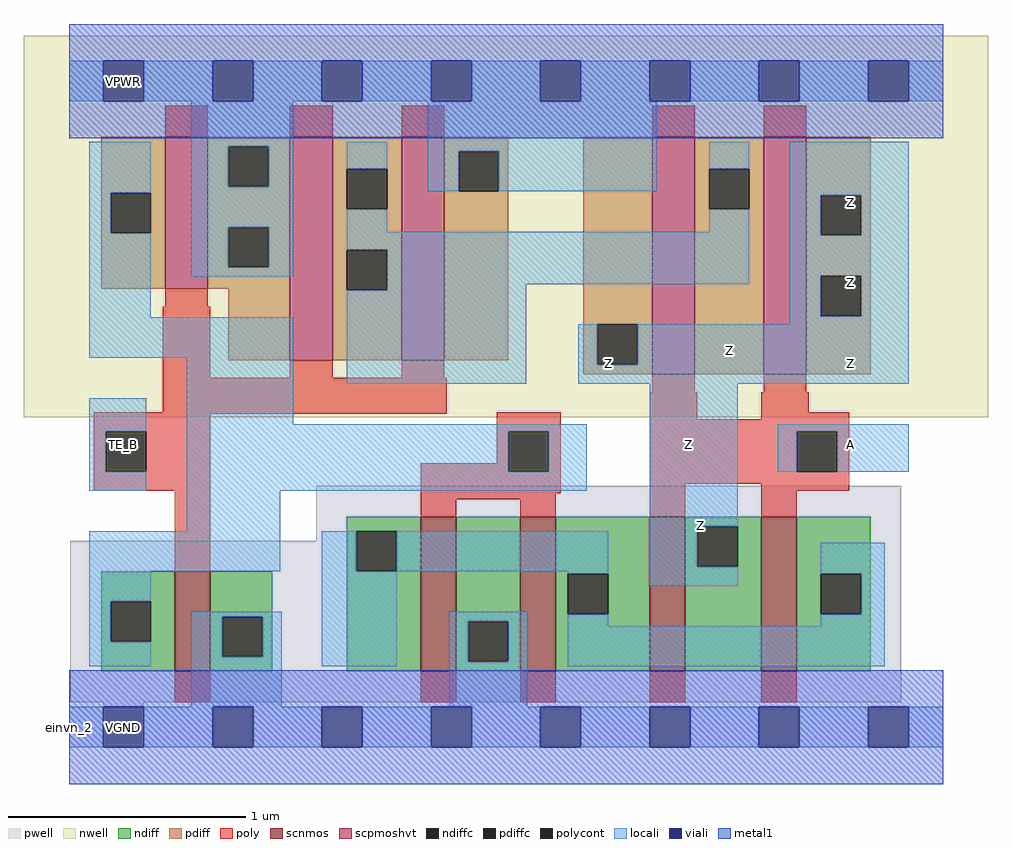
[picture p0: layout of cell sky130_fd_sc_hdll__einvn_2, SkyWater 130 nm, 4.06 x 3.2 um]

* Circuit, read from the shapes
.subckt sky130_fd_sc_hdll__einvn_2 A TE_B VGND VNB VPB VPWR Z
XM1 VGND TE_B n1 VNB sky130_fd_pr__nfet_01v8 w=0.42 l=0.15
XM2 VGND n1 n2 VNB sky130_fd_pr__nfet_01v8 w=0.65 l=0.15 m=2
XM3 Z A n2 VNB sky130_fd_pr__nfet_01v8 w=0.65 l=0.15 m=2
XM4 VPWR TE_B n1 VPB sky130_fd_pr__pfet_01v8_hvt w=0.64 l=0.18
XM5 n3 TE_B VPWR VPB sky130_fd_pr__pfet_01v8_hvt w=0.94 l=0.18 m=2
XM6 n3 A Z VPB sky130_fd_pr__pfet_01v8_hvt w=1 l=0.18 m=2
.ends

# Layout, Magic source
magic
tech sky130A
magscale 1 2
<< nwell >>
rect -38 261 774 582
<< pwell >>
rect 208 157 701 203
rect 1 21 701 157
rect 29 -17 63 21
<< scnmos >>
rect 89 47 119 131
rect 296 47 326 177
rect 380 47 410 177
rect 489 47 519 177
rect 583 47 613 177
<< scpmoshvt >>
rect 81 369 117 497
rect 186 309 222 497
rect 280 309 316 497
rect 491 297 527 497
rect 585 297 621 497
<< ndiff >>
rect 234 165 296 177
rect 234 131 242 165
rect 276 131 296 165
rect 27 106 89 131
rect 27 72 35 106
rect 69 72 89 106
rect 27 47 89 72
rect 119 93 171 131
rect 119 59 129 93
rect 163 59 171 93
rect 119 47 171 59
rect 234 47 296 131
rect 326 89 380 177
rect 326 55 336 89
rect 370 55 380 89
rect 326 47 380 55
rect 410 129 489 177
rect 410 95 420 129
rect 454 95 489 129
rect 410 47 489 95
rect 519 169 583 177
rect 519 135 529 169
rect 563 135 583 169
rect 519 47 583 135
rect 613 129 675 177
rect 613 95 633 129
rect 667 95 675 129
rect 613 47 675 95
<< pdiff >>
rect 27 450 81 497
rect 27 416 35 450
rect 69 416 81 450
rect 27 369 81 416
rect 117 489 186 497
rect 117 455 134 489
rect 168 455 186 489
rect 117 421 186 455
rect 117 387 134 421
rect 168 387 186 421
rect 117 369 186 387
rect 134 309 186 369
rect 222 470 280 497
rect 222 436 234 470
rect 268 436 280 470
rect 222 402 280 436
rect 222 368 234 402
rect 268 368 280 402
rect 222 309 280 368
rect 316 485 370 497
rect 316 451 328 485
rect 362 451 370 485
rect 316 309 370 451
rect 433 339 491 497
rect 433 305 445 339
rect 479 305 491 339
rect 433 297 491 305
rect 527 470 585 497
rect 527 436 539 470
rect 573 436 585 470
rect 527 297 585 436
rect 621 448 675 497
rect 621 414 633 448
rect 667 414 675 448
rect 621 380 675 414
rect 621 346 633 380
rect 667 346 675 380
rect 621 297 675 346
<< ndiffc >>
rect 242 131 276 165
rect 35 72 69 106
rect 129 59 163 93
rect 336 55 370 89
rect 420 95 454 129
rect 529 135 563 169
rect 633 95 667 129
<< pdiffc >>
rect 35 416 69 450
rect 134 455 168 489
rect 134 387 168 421
rect 234 436 268 470
rect 234 368 268 402
rect 328 451 362 485
rect 445 305 479 339
rect 539 436 573 470
rect 633 414 667 448
rect 633 346 667 380
<< poly >>
rect 81 497 117 523
rect 186 497 222 523
rect 280 497 316 523
rect 491 497 527 523
rect 585 497 621 523
rect 81 354 117 369
rect 79 294 119 354
rect 186 294 222 309
rect 280 294 316 309
rect 79 265 318 294
rect 491 282 527 297
rect 585 282 621 297
rect 21 264 318 265
rect 21 249 119 264
rect 21 215 31 249
rect 65 215 119 249
rect 360 249 414 265
rect 360 222 370 249
rect 21 199 119 215
rect 89 131 119 199
rect 296 215 370 222
rect 404 215 414 249
rect 296 197 414 215
rect 489 259 529 282
rect 583 265 623 282
rect 583 259 657 265
rect 489 249 657 259
rect 489 215 613 249
rect 647 215 657 249
rect 489 205 657 215
rect 296 192 410 197
rect 296 177 326 192
rect 380 177 410 192
rect 489 177 519 205
rect 583 199 657 205
rect 583 177 613 199
rect 89 21 119 47
rect 296 21 326 47
rect 380 21 410 47
rect 489 21 519 47
rect 583 21 613 47
<< polycont >>
rect 31 215 65 249
rect 370 215 404 249
rect 613 215 647 249
<< locali >>
rect 0 527 29 561
rect 63 527 121 561
rect 155 527 213 561
rect 247 527 305 561
rect 339 527 397 561
rect 431 527 489 561
rect 523 527 581 561
rect 615 527 673 561
rect 707 527 736 561
rect 17 450 69 493
rect 17 416 35 450
rect 17 345 69 416
rect 103 489 189 527
rect 103 455 134 489
rect 168 455 189 489
rect 103 421 189 455
rect 103 387 134 421
rect 168 387 189 421
rect 103 379 189 387
rect 234 470 268 493
rect 302 485 495 527
rect 302 451 328 485
rect 362 451 495 485
rect 539 470 573 493
rect 234 417 268 436
rect 539 417 573 436
rect 234 402 573 417
rect 268 373 573 402
rect 607 448 707 493
rect 607 414 633 448
rect 667 414 707 448
rect 607 380 707 414
rect 268 368 385 373
rect 17 311 189 345
rect 17 249 65 277
rect 17 215 31 249
rect 17 199 65 215
rect 99 255 189 311
rect 234 289 385 368
rect 607 346 633 380
rect 667 346 707 380
rect 607 339 707 346
rect 429 305 445 339
rect 479 305 707 339
rect 429 289 707 305
rect 99 249 436 255
rect 99 215 370 249
rect 404 215 436 249
rect 99 199 436 215
rect 99 165 178 199
rect 489 169 563 289
rect 597 249 707 255
rect 597 215 613 249
rect 647 215 707 249
rect 17 131 178 165
rect 213 131 242 165
rect 276 131 454 165
rect 17 106 69 131
rect 17 72 35 106
rect 17 51 69 72
rect 103 93 179 97
rect 103 59 129 93
rect 163 59 179 93
rect 103 17 179 59
rect 213 51 276 131
rect 420 129 454 131
rect 320 89 386 97
rect 320 55 336 89
rect 370 55 386 89
rect 320 17 386 55
rect 489 135 529 169
rect 489 119 563 135
rect 633 129 687 155
rect 420 85 454 95
rect 667 95 687 129
rect 633 85 687 95
rect 420 51 687 85
rect 0 -17 29 17
rect 63 -17 121 17
rect 155 -17 213 17
rect 247 -17 305 17
rect 339 -17 397 17
rect 431 -17 489 17
rect 523 -17 581 17
rect 615 -17 673 17
rect 707 -17 736 17
<< viali >>
rect 29 527 63 561
rect 121 527 155 561
rect 213 527 247 561
rect 305 527 339 561
rect 397 527 431 561
rect 489 527 523 561
rect 581 527 615 561
rect 673 527 707 561
rect 29 -17 63 17
rect 121 -17 155 17
rect 213 -17 247 17
rect 305 -17 339 17
rect 397 -17 431 17
rect 489 -17 523 17
rect 581 -17 615 17
rect 673 -17 707 17
<< metal1 >>
rect 0 561 736 592
rect 0 527 29 561
rect 63 527 121 561
rect 155 527 213 561
rect 247 527 305 561
rect 339 527 397 561
rect 431 527 489 561
rect 523 527 581 561
rect 615 527 673 561
rect 707 527 736 561
rect 0 496 736 527
rect 0 17 736 48
rect 0 -17 29 17
rect 63 -17 121 17
rect 155 -17 213 17
rect 247 -17 305 17
rect 339 -17 397 17
rect 431 -17 489 17
rect 523 -17 581 17
rect 615 -17 673 17
rect 707 -17 736 17
rect 0 -48 736 -17
<< labels >>
flabel locali s 29 221 63 255 0 FreeSans 200 0 0 0 TE_B
port 2 nsew signal input
flabel locali s 641 221 675 255 0 FreeSans 200 0 0 0 A
port 1 nsew signal input
flabel locali s 515 153 549 187 0 FreeSans 200 0 0 0 Z
port 7 nsew signal output
flabel locali s 505 221 539 255 0 FreeSans 200 0 0 0 Z
port 7 nsew signal output
flabel locali s 437 289 471 323 0 FreeSans 200 0 0 0 Z
port 7 nsew signal output
flabel locali s 539 300 573 334 0 FreeSans 200 0 0 0 Z
port 7 nsew signal output
flabel locali s 641 289 675 323 0 FreeSans 200 0 0 0 Z
port 7 nsew signal output
flabel locali s 641 425 675 459 0 FreeSans 200 0 0 0 Z
port 7 nsew signal output
flabel locali s 641 357 675 391 0 FreeSans 200 0 0 0 Z
port 7 nsew signal output
flabel metal1 s 29 527 63 561 0 FreeSans 200 0 0 0 VPWR
port 6 nsew power bidirectional
flabel metal1 s 29 -17 63 17 0 FreeSans 200 0 0 0 VGND
port 3 nsew ground bidirectional
flabel nwell s 29 527 63 561 0 FreeSans 200 0 0 0 VPB
port 5 nsew power bidirectional
flabel pwell s 29 -17 63 17 0 FreeSans 200 0 0 0 VNB
port 4 nsew ground bidirectional
rlabel comment s 0 0 0 0 4 einvn_2
<< properties >>
string LEFsite unithd
string LEFclass CORE
string FIXED_BBOX 0 0 736 544
string GDS_FILE $PDKPATH/libs.ref/sky130_fd_sc_hdll/gds/sky130_fd_sc_hdll.gds
string LEFsymmetry X Y R90
string GDS_END 2038980
string GDS_START 2032630
string LEFproperties maskLayoutSubType "abstract" prCellType "standard" originalViewName "layout"
<< end >>
